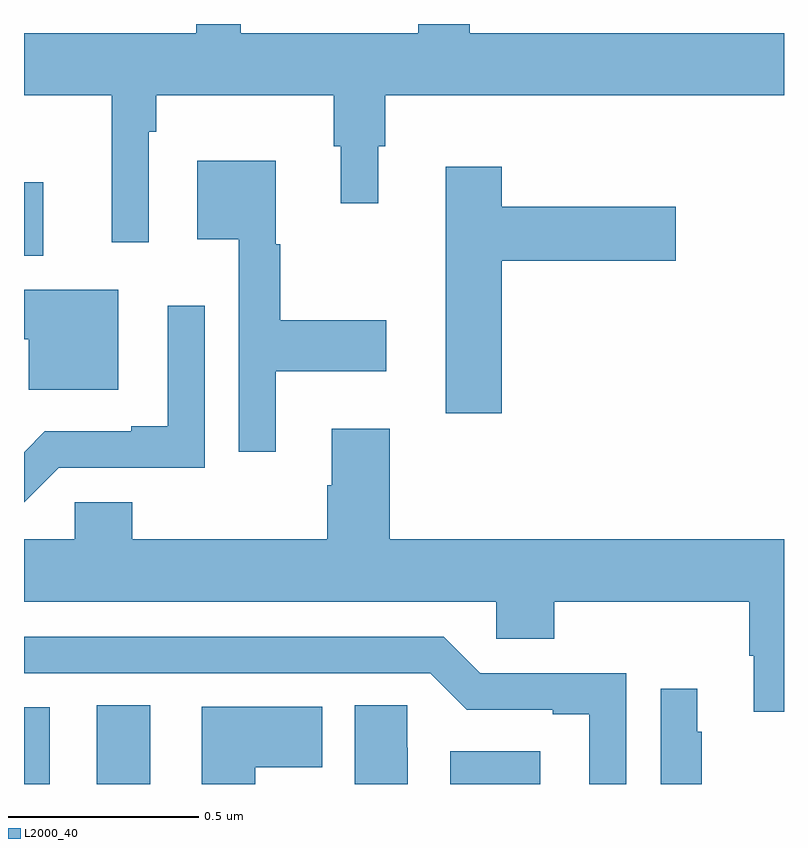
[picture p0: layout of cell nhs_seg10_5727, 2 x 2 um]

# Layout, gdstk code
import gdstk
lib = gdstk.Library(unit=1e-6, precision=1e-09)
def R(c, l, rs):  # rectangles x0, y0, x1, y1
    for r in rs: c.add(gdstk.rectangle(r[:2], r[2:], *l))
def P(c, l, *ps):  # polygons
    for p in ps: c.add(gdstk.Polygon(p, *l))
L2000_40 = (2000, 40)

nhs_seg10_5727 = lib.new_cell('nhs_seg10_5727')
R(nhs_seg10_5727, L2000_40, [(182,1302.5,182.068,1302.702), (182.192,1302.5,182.332,1302.707), (183.122,1302.5,183.358,1302.586), (182,1303.89,182.051,1304.083)])
P(nhs_seg10_5727, L2000_40, [(182.328,1304.216),(182.348,1304.216),(182.348,1304.312),(182.815,1304.312),(182.815,1304.178),(182.834,1304.178),(182.834,1304.028),(182.932,1304.028),(182.932,1304.178),(182.951,1304.178),(182.951,1304.312),(184,1304.312),(184,1304.476),(183.173,1304.476),(183.173,1304.5),(183.037,1304.5),(183.037,1304.476),(182.57,1304.476),(182.57,1304.5),(182.453,1304.5),(182.453,1304.476),(182,1304.476),(182,1304.312),(182.231,1304.312),(182.231,1303.926),(182.328,1303.926)],
  [(182.662,1303.586),(182.953,1303.586),(182.953,1303.721),(182.674,1303.721),(182.674,1303.92),(182.662,1303.92),(182.662,1304.14),(182.456,1304.14),(182.456,1303.934),(182.565,1303.934),(182.565,1303.374),(182.662,1303.374)],
  [(183.257,1303.877),(183.715,1303.877),(183.715,1304.019),(183.257,1304.019),(183.257,1304.125),(183.11,1304.125),(183.11,1303.476),(183.257,1303.476)],
  [(182.248,1303.801),(182,1303.801),(182,1303.671),(182.012,1303.671),(182.012,1303.538),(182.248,1303.538)],
  [(182.091,1303.332),(182.475,1303.332),(182.475,1303.759),(182.378,1303.759),(182.378,1303.441),(182.282,1303.441),(182.282,1303.428),(182.055,1303.428),(182,1303.373),(182,1303.241)],
  [(184,1303.144),(182.963,1303.144),(182.963,1303.435),(182.81,1303.435),(182.81,1303.286),(182.798,1303.286),(182.798,1303.144),(182.285,1303.144),(182.285,1303.242),(182.133,1303.242),(182.133,1303.144),(182,1303.144),(182,1302.98),(183.243,1302.98),(183.243,1302.882),(183.395,1302.882),(183.395,1302.98),(183.908,1302.98),(183.908,1302.838),(183.92,1302.838),(183.92,1302.69),(184,1302.69)],
  [(183.585,1302.792),(183.201,1302.792),(183.105,1302.888),(182,1302.888),(182,1302.792),(183.069,1302.792),(183.165,1302.696),(183.392,1302.696),(183.392,1302.684),(183.488,1302.684),(183.488,1302.5),(183.585,1302.5)],
  [(183.784,1302.638),(183.772,1302.638),(183.772,1302.751),(183.675,1302.751),(183.675,1302.5),(183.784,1302.5)],
  [(183.01,1302.596),(183.009,1302.596),(183.009,1302.707),(182.87,1302.707),(182.87,1302.5),(183.01,1302.5)],
  [(182.608,1302.544),(182.785,1302.544),(182.785,1302.703),(182.468,1302.703),(182.468,1302.5),(182.608,1302.5)])

lib.write_gds('nhs_seg10_5727.gds')
